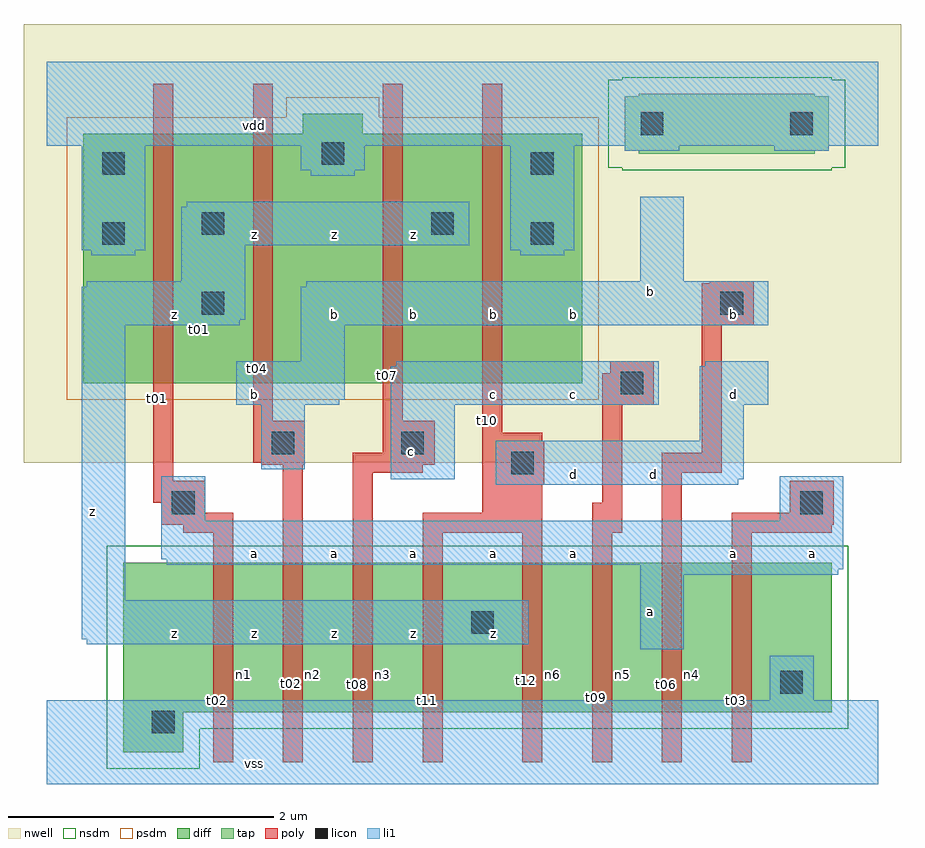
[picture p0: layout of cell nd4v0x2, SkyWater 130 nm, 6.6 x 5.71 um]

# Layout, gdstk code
import gdstk
lib = gdstk.Library(unit=1e-6, precision=5e-09)
def R(c, l, rs):  # rectangles x0, y0, x1, y1
    for r in rs: c.add(gdstk.rectangle(r[:2], r[2:], *l))
def A(c, l, x, y, w, h, nx, ny, dx, dy):  # array of equal rectangles
    R(c, l, [(x+i*dx, y+j*dy, x+i*dx+w, y+j*dy+h) for i in range(nx) for j in range(ny)])
nwell = (64, 20)
diff = (65, 20)
tap = (65, 44)
poly = (66, 20)
licon = (66, 44)
li1 = (67, 20)
nsdm = (93, 44)
psdm = (94, 20)

nd4v0x2 = lib.new_cell('nd4v0x2')
R(nd4v0x2, nwell, [(-0.3,2.4,6.3,5.7)])
R(nd4v0x2, diff, [(0.45,0.225,0.9,1.65), (0.45,0.525,5.775,1.65), (0.15,3,3.9,4.875), (1.8,3,2.25,5.025)])
R(nd4v0x2, tap, [(4.325,4.725,5.65,5.175), (4.22,4.745,5.755,5.155)])
R(nd4v0x2, poly, [(1.125,0.15,1.275,2.025), (1.65,0.15,1.8,2.715), (2.175,0.15,2.325,2.475), (2.7,0.15,2.85,2.025), (3.45,0.15,3.6,2.625), (3.975,0.15,4.125,2.1), (4.5,0.15,4.65,2.475), (5.025,0.15,5.175,2.025), (0.9,1.875,1.275,2.025), (2.7,1.875,3.6,2.025), (3.15,1.875,3.6,2.625), (3.15,1.875,3.3,5.25), (3.975,1.875,4.2,2.1), (4.05,1.875,4.2,3.075), (5.025,1.875,5.775,2.025), (0.735,1.935,1.065,2.265), (5.46,1.935,5.79,2.265), (0.675,2.1,1.065,2.265), (0.675,2.1,0.825,5.25), (3.15,2.235,3.615,2.565), (2.175,2.325,2.7,2.475), (2.4,2.325,2.55,5.25), (2.4,2.325,2.7,2.715), (4.5,2.325,4.95,2.475), (4.8,2.325,4.95,3.75), (1.485,2.385,1.815,2.715), (2.4,2.385,2.79,2.715), (1.425,2.4,1.575,5.25), (1.425,2.4,1.815,2.715), (4.05,2.835,4.44,3.075), (4.11,2.835,4.44,3.165), (4.8,3.435,5.19,3.75), (4.8,3.435,5.19,3.75), (4.86,3.435,5.19,3.765)])
R(nd4v0x2, licon, [(0.665,0.365,0.835,0.535), (5.39,0.665,5.56,0.835), (3.065,1.115,3.235,1.285), (0.815,2.015,0.985,2.185), (5.54,2.015,5.71,2.185), (3.365,2.315,3.535,2.485), (1.565,2.465,1.735,2.635), (2.54,2.465,2.71,2.635), (4.19,2.915,4.36,3.085), (1.04,3.515,1.21,3.685), (4.94,3.515,5.11,3.685), (0.29,4.04,0.46,4.21), (3.515,4.04,3.685,4.21), (1.04,4.115,1.21,4.285), (2.765,4.115,2.935,4.285), (0.29,4.565,0.46,4.735), (3.515,4.565,3.685,4.735), (1.94,4.64,2.11,4.81), (4.34,4.865,4.51,5.035), (5.465,4.865,5.635,5.035)])
A(nd4v0x2, li1, 0.775, 1.035, 0.25, 0.33, 5, 1, 0.6, 0)
A(nd4v0x2, li1, 1.375, 1.635, 0.25, 0.33, 5, 1, 0.6, 0)
A(nd4v0x2, li1, 1.975, 3.435, 0.25, 0.33, 4, 1, 0.6, 0)
A(nd4v0x2, li1, 1.375, 4.035, 0.25, 0.33, 3, 1, 0.6, 0)
R(nd4v0x2, li1, [(-0.125,-0.015,6.125,0.615), (-0.125,-0.015,6.125,0.615), (5.31,-0.015,5.64,0.95), (4.335,1,4.665,1.965), (0.175,1.035,0.465,3.765), (0.175,1.035,3.5,1.365), (0.135,1.075,0.465,3.725), (0.135,1.075,3.5,1.365), (4.335,1.075,4.665,1.925), (4.335,1.56,5.825,1.965), (5.385,1.56,5.825,2.3), (4.335,1.6,5.865,1.965), (5.385,1.6,5.865,2.3), (0.775,1.635,1.065,2.3), (0.775,1.635,5.865,1.965), (4.975,1.635,5.225,1.965), (5.575,1.635,5.825,1.965), (0.135,1.675,0.465,3.125), (0.735,1.675,1.065,2.3), (0.735,1.675,5.865,1.965), (3.25,2.235,5.075,2.565), (3.775,2.235,4.025,2.565), (4.375,2.235,4.625,2.565), (4.785,2.235,5.075,3.125), (4.785,2.235,5.075,3.125), (4.825,2.235,5.075,3.165), (4.825,2.235,5.075,3.165), (4.825,2.235,5.075,3.165), (2.46,2.275,2.94,3.125), (2.5,2.275,2.94,3.165), (2.535,2.275,2.865,3.125), (3.25,2.275,5.115,2.565), (3.25,2.275,5.115,2.565), (3.25,2.275,5.115,2.565), (4.785,2.275,5.115,3.125), (4.785,2.275,5.115,3.125), (4.825,2.275,5.115,3.165), (4.825,2.275,5.115,3.165), (1.485,2.35,1.815,3.165), (1.3,2.835,2.075,3.165), (1.375,2.835,1.625,3.165), (1.785,2.835,2.075,3.725), (1.825,2.835,2.075,3.765), (2.46,2.835,4.475,3.125), (2.5,2.835,4.475,3.165), (3.175,2.835,3.425,3.165), (3.775,2.835,4.025,3.165), (4.785,2.835,5.3,3.125), (4.785,2.835,5.3,3.125), (4.785,2.835,5.3,3.125), (4.825,2.835,5.3,3.165), (4.975,2.835,5.225,3.165), (1.3,2.875,2.115,3.165), (1.785,2.875,2.115,3.725), (1.825,2.875,2.115,3.765), (0.135,3.435,1.325,3.725), (0.175,3.435,1.325,3.765), (0.775,3.435,1.025,3.765), (0.885,3.435,1.325,4.325), (0.925,3.435,1.325,4.365), (1.785,3.435,5.3,3.725), (1.825,3.435,5.3,3.765), (4.335,3.435,4.665,4.4), (4.975,3.435,5.225,3.765), (0.135,3.475,1.365,3.725), (0.175,3.475,1.365,3.765), (0.885,3.475,1.365,4.325), (0.925,3.475,1.365,4.365), (4.335,3.475,4.665,4.325), (0.21,3.96,0.54,5.415), (3.435,3.96,3.765,5.415), (0.135,4,0.615,5.415), (3.36,4,3.84,5.415), (0.885,4.035,3.05,4.325), (0.925,4.035,3.05,4.365), (1.86,4.56,2.19,5.415), (1.785,4.6,2.265,5.415), (4.22,4.745,4.63,5.415), (5.345,4.745,5.755,5.415), (-0.125,4.785,6.125,5.415), (-0.125,4.785,6.125,5.415)])
R(nd4v0x2, nsdm, [(0.325,0.1,1.025,1.775), (0.45,0.225,0.9,1.65), (0.45,0.225,0.9,1.65), (0.605,0.305,0.895,0.595), (0.325,0.4,5.9,1.775), (1.275,0.525,1.575,1.65), (1.275,0.525,1.575,1.65), (1.8,0.525,2.1,1.65), (1.8,0.525,2.1,1.65), (2.325,0.525,2.625,1.65), (2.325,0.525,2.625,1.65), (3,0.525,3.3,1.65), (3,0.525,3.3,1.65), (3.6,0.525,3.9,1.65), (3.6,0.525,3.9,1.65), (4.125,0.525,4.425,1.65), (4.125,0.525,4.425,1.65), (4.65,0.525,4.95,1.65), (4.65,0.525,4.95,1.65), (5.325,0.525,5.775,1.65), (5.325,0.525,5.775,1.65), (5.33,0.605,5.62,0.895), (3.005,1.055,3.295,1.345), (4.2,4.6,5.775,5.3), (4.095,4.62,5.88,5.28)])
R(nd4v0x2, psdm, [(0.025,2.875,4.025,5), (1.675,2.875,2.375,5.15), (0.15,3,0.6,4.875), (0.15,3,0.6,4.875), (0.975,3,1.275,4.875), (0.975,3,1.275,4.875), (1.8,3,2.25,5.025), (1.8,3,2.25,5.025), (2.7,3,3,4.875), (2.7,3,3,4.875), (3.45,3,3.9,4.875), (3.45,3,3.9,4.875), (0.98,3.455,1.27,3.745), (0.23,3.98,0.52,4.27), (3.455,3.98,3.745,4.27), (0.98,4.055,1.27,4.345), (2.705,4.055,2.995,4.345), (0.23,4.505,0.52,4.795), (3.455,4.505,3.745,4.795), (1.88,4.58,2.17,4.87)])
nd4v0x2.add(gdstk.Label('t02', (1.715,0.74), layer=93, texttype=44))
nd4v0x2.add(gdstk.Label('t01', (1.025,3.405), layer=94, texttype=20))
nd4v0x2.add(gdstk.Label('t01', (1.085,3.465), layer=65, texttype=20))
nd4v0x2.add(gdstk.Label('t02', (1.78,0.805), layer=65, texttype=20))
nd4v0x2.add(gdstk.Label('n4', (4.725,0.805), layer=93, texttype=44))
nd4v0x2.add(gdstk.Label('n5', (4.2,0.805), layer=93, texttype=44))
nd4v0x2.add(gdstk.Label('n6', (3.675,0.805), layer=93, texttype=44))
nd4v0x2.add(gdstk.Label('n3', (2.4,0.805), layer=93, texttype=44))
nd4v0x2.add(gdstk.Label('n2', (1.875,0.805), layer=93, texttype=44))
nd4v0x2.add(gdstk.Label('n1', (1.35,0.805), layer=93, texttype=44))
nd4v0x2.add(gdstk.Label('t02', (1.16,0.615), layer=66, texttype=20))
nd4v0x2.add(gdstk.Label('t04', (1.46,3.11), layer=66, texttype=20))
nd4v0x2.add(gdstk.Label('t01', (0.71,2.885), layer=66, texttype=20))
nd4v0x2.add(gdstk.Label('t08', (2.21,0.73), layer=66, texttype=20))
nd4v0x2.add(gdstk.Label('t05', (1.685,0.79), layer=66, texttype=20))
nd4v0x2.add(gdstk.Label('t07', (2.435,3.055), layer=66, texttype=20))
nd4v0x2.add(gdstk.Label('t11', (2.735,0.615), layer=66, texttype=20))
nd4v0x2.add(gdstk.Label('t12', (3.485,0.765), layer=66, texttype=20))
nd4v0x2.add(gdstk.Label('t10', (3.185,2.715), layer=66, texttype=20))
nd4v0x2.add(gdstk.Label('t09', (4.01,0.635), layer=66, texttype=20))
nd4v0x2.add(gdstk.Label('t06', (4.535,0.73), layer=66, texttype=20))
nd4v0x2.add(gdstk.Label('t03', (5.06,0.615), layer=66, texttype=20))
nd4v0x2.add(gdstk.Label('z', (0.835,1.115), layer=67, texttype=20))
nd4v0x2.add(gdstk.Label('z', (0.215,2.035), layer=67, texttype=20))
nd4v0x2.add(gdstk.Label('z', (0.835,3.515), layer=67, texttype=20))
nd4v0x2.add(gdstk.Label('z', (2.035,1.115), layer=67, texttype=20))
nd4v0x2.add(gdstk.Label('z', (1.435,1.115), layer=67, texttype=20))
nd4v0x2.add(gdstk.Label('a', (1.435,1.715), layer=67, texttype=20))
nd4v0x2.add(gdstk.Label('a', (2.035,1.715), layer=67, texttype=20))
nd4v0x2.add(gdstk.Label('b', (1.435,2.915), layer=67, texttype=20))
nd4v0x2.add(gdstk.Label('b', (2.035,3.515), layer=67, texttype=20))
nd4v0x2.add(gdstk.Label('z', (2.035,4.115), layer=67, texttype=20))
nd4v0x2.add(gdstk.Label('z', (1.435,4.115), layer=67, texttype=20))
nd4v0x2.add(gdstk.Label('z', (3.235,1.115), layer=67, texttype=20))
nd4v0x2.add(gdstk.Label('z', (2.635,1.115), layer=67, texttype=20))
nd4v0x2.add(gdstk.Label('a', (2.635,1.715), layer=67, texttype=20))
nd4v0x2.add(gdstk.Label('a', (3.235,1.715), layer=67, texttype=20))
nd4v0x2.add(gdstk.Label('c', (2.615,2.485), layer=67, texttype=20))
nd4v0x2.add(gdstk.Label('c', (3.235,2.915), layer=67, texttype=20))
nd4v0x2.add(gdstk.Label('b', (2.635,3.515), layer=67, texttype=20))
nd4v0x2.add(gdstk.Label('b', (3.235,3.515), layer=67, texttype=20))
nd4v0x2.add(gdstk.Label('z', (2.635,4.115), layer=67, texttype=20))
nd4v0x2.add(gdstk.Label('a', (4.415,1.285), layer=67, texttype=20))
nd4v0x2.add(gdstk.Label('a', (3.835,1.715), layer=67, texttype=20))
nd4v0x2.add(gdstk.Label('d', (4.435,2.315), layer=67, texttype=20))
nd4v0x2.add(gdstk.Label('d', (3.835,2.315), layer=67, texttype=20))
nd4v0x2.add(gdstk.Label('c', (3.835,2.915), layer=67, texttype=20))
nd4v0x2.add(gdstk.Label('b', (3.835,3.515), layer=67, texttype=20))
nd4v0x2.add(gdstk.Label('b', (4.415,3.685), layer=67, texttype=20))
nd4v0x2.add(gdstk.Label('vss', (1.435,0.14), layer=67, texttype=20))
nd4v0x2.add(gdstk.Label('a', (5.035,1.715), layer=67, texttype=20))
nd4v0x2.add(gdstk.Label('a', (5.635,1.715), layer=67, texttype=20))
nd4v0x2.add(gdstk.Label('d', (5.035,2.915), layer=67, texttype=20))
nd4v0x2.add(gdstk.Label('b', (5.035,3.515), layer=67, texttype=20))
nd4v0x2.add(gdstk.Label('vdd', (1.435,4.94), layer=67, texttype=20))

lib.write_gds('nd4v0x2.gds')
